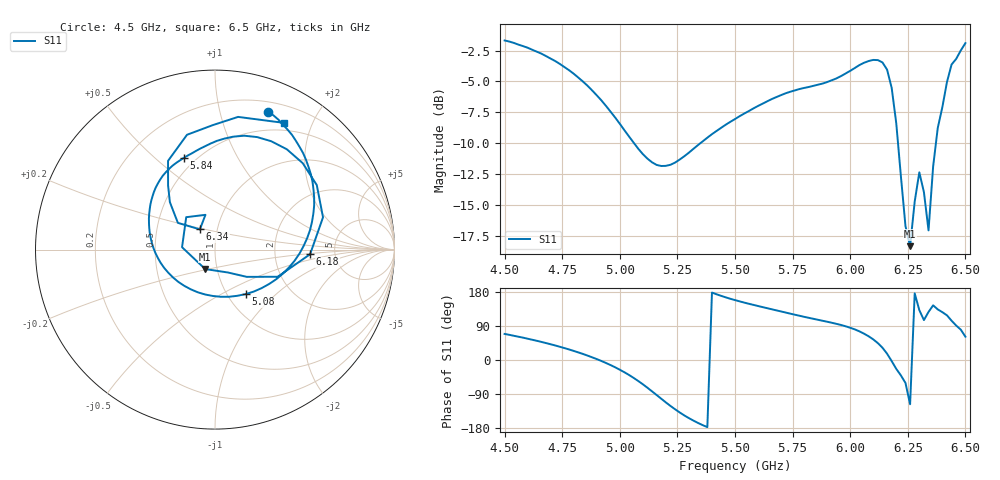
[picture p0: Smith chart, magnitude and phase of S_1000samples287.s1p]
! TOUCHSTONE file generated by CST MICROWAVE STUDIO
! Date and time: Thu Oct 27 15:31:49 2022
! Project name: L.cst
! Parameters = {Di=1.27; Epsilon_r=1.56; InnerDiameter=1.27; Length=2; Lf=10; Lg=60; OuterConductorThickness=0.2921; OuterDiameter=3.6; Wf=3; Wp=41.2; de=1.5; df=6.8; g=0.8; gx=3.79157; gy=1.94234; h=2.34; hf=1.524; px=14.5543; py=13.1514; w=9.7; wx=10.7627; wy=11.2091}
! Header version: 2018
! Port assignment regex: !\s*Touchstone port\s*([0-9]+)\s*=\s*(CST MWS port|CST DS port)\s*([0-9]+|Zmin|Zmax)\s*\(\"(.*)\"\)(\s*mode\s*([0-9]+))?.*
! Touchstone port assignment:
! Touchstone port 1 = CST MWS port 1 ("")
# GHz S DB R 50
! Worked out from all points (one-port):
!   101 points, 4.5 GHz to 6.5 GHz, reference 50 ohm
!   lowest |S11| = -18.3 dB at 6.26 GHz (marker M1), VSWR 1.28, Z = 43.8 - j9.64 ohm
!   |S11| at or under -10 dB: 5.062 GHz to 5.349 GHz (286.4 MHz wide, 5.5 % of centre); 6.208 GHz to 6.372 GHz (164.4 MHz wide, 2.61 % of centre)
!   S11 on the Smith chart (normalised r, x): 4.5 GHz: 0.30, +1.42; 5.08 GHz: 1.21, -0.66; 5.84 GHz: 0.43, +0.62; 6.18 GHz: 3.24, -0.23; 6.34 GHz: 0.82, +0.19; 6.5 GHz: 0.40, +1.61
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4.5  -1.68 68.8
4.76  -3.84 31.4
4.88  -5.72 7.1
5  -8.42 -25.7
5.08  -10.43 -55.5
5.26  -11.31 -138.4
5.38  -9.54 -177.2
5.5  -8.03 158.1
5.76  -5.72 119.5
5.84  -5.35 108.7
6  -4.14 85.1
6.1  -3.26 54.4
6.14  -3.46 32.4
6.16  -4.04 16.7
6.18  -5.51 -2.8
6.2  -8.39 -23.4
6.24  -16.69 -60.6
6.26  -18.31 -116.8
6.28  -14.70 175.9
6.3  -12.34 131.6
6.32  -13.94 105.4
6.34  -17.03 126.8
6.36  -11.87 144.2
6.38  -8.76 133.6
6.42  -5.04 117.9
6.46  -3.17 90.9
6.48  -2.49 80.1
6.5  -1.90 61.5
